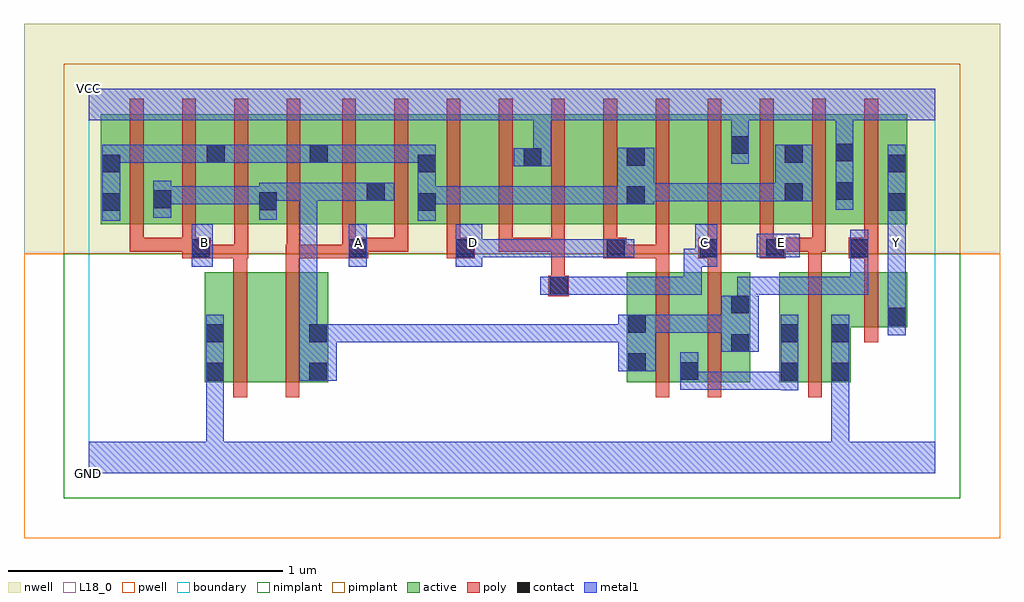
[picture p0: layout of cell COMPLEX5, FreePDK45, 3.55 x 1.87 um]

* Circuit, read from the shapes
.subckt COMPLEX5 A B C D E GND VCC Y
M1 n1 B GND VSUBS nfet w=0.4u l=0.05u
M2 n2 A n1 VSUBS nfet w=0.4u l=0.05u
M3 n3 D n2 VSUBS nfet w=0.4u l=0.05u
M4 n2 C n3 VSUBS nfet w=0.4u l=0.05u
M5 GND E n3 VSUBS nfet w=0.4u l=0.05u
M6 Y n2 GND VSUBS nfet w=0.2u l=0.05u
M7 n2 B n4 n5 pfet w=0.4u l=0.05u m=3
M8 n4 A n2 n5 pfet w=0.4u l=0.05u m=3
M9 n6 D n4 n5 pfet w=0.4u l=0.05u
M10 VCC C n6 n5 pfet w=0.4u l=0.05u
M11 n7 C VCC n5 pfet w=0.4u l=0.05u
M12 n4 D n7 n5 pfet w=0.4u l=0.05u
M13 n8 D n4 n5 pfet w=0.4u l=0.05u
M14 VCC C n8 n5 pfet w=0.4u l=0.05u
M15 n4 E VCC n5 pfet w=0.4u l=0.05u m=2
M16 Y n2 VCC n5 pfet w=0.4u l=0.05u
.ends

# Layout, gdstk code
import gdstk
lib = gdstk.Library(unit=1e-6, precision=1e-09)
def R(c, l, rs):  # rectangles x0, y0, x1, y1
    for r in rs: c.add(gdstk.rectangle(r[:2], r[2:], *l))
def A(c, l, x, y, w, h, nx, ny, dx, dy):  # array of equal rectangles
    R(c, l, [(x+i*dx, y+j*dy, x+i*dx+w, y+j*dy+h) for i in range(nx) for j in range(ny)])
active = (1, 0)
pwell = (2, 0)
nwell = (3, 0)
nimplant = (4, 0)
pimplant = (5, 0)
poly = (9, 0)
contact = (10, 0)
metal1 = (11, 0)
L18_0 = (18, 0)
boundary = (235, 0)

complex5 = lib.new_cell('COMPLEX5')
R(complex5, active, [(0.422,0.332,0.497,0.732), (0.422,0.332,0.647,0.732), (0.647,0.332,0.872,0.732), (0.797,0.332,0.872,0.732), (1.957,0.332,2.032,0.732), (1.957,0.332,2.222,0.732), (2.147,0.332,2.407,0.732), (2.332,0.332,2.407,0.732), (2.512,0.332,2.772,0.732), (2.512,0.332,2.587,0.732), (2.697,0.332,2.772,0.692), (2.147,0.335,2.222,0.492), (2.697,0.532,2.977,0.732), (2.902,0.532,2.977,0.732), (0.045,0.907,0.305,1.307), (0.045,0.907,0.12,1.2), (0.23,0.907,0.5,1.307), (0.23,0.907,0.305,1.07), (0.425,0.907,0.69,1.307), (0.425,0.907,0.5,1.2), (0.615,0.907,0.875,1.307), (0.615,0.907,0.69,1.07), (0.8,0.907,0.875,1.2), (0.8,0.907,1.082,1.307), (1.007,0.907,1.267,1.307), (1.007,0.907,1.082,1.07), (1.192,0.907,1.267,1.2), (1.192,0.907,1.422,1.307), (1.422,0.907,1.652,1.307), (1.577,0.907,1.802,1.307), (1.577,0.907,1.652,1.255), (1.802,0.907,2.027,1.307), (1.952,0.907,2.027,1.2), (1.952,0.907,2.182,1.307), (2.182,0.907,2.407,1.307), (2.332,0.907,2.407,1.255), (2.332,0.907,2.602,1.307), (2.527,0.907,2.787,1.307), (2.527,0.907,2.602,1.2), (2.712,0.907,2.977,1.307), (2.712,0.907,2.787,1.255), (2.902,0.907,2.977,1.2)])
R(complex5, pwell, [(-0.235,-0.235,3.315,0.8)])
R(complex5, nwell, [(-0.235,0.8,3.315,1.635)])
R(complex5, nimplant, [(-0.09,-0.09,3.17,0.8)])
R(complex5, pimplant, [(-0.09,0.8,3.17,1.49)])
A(complex5, poly, 0.922, 0.807, 0.05, 0.095, 6, 1, 0.19, 0)
A(complex5, poly, 2.252, 0.807, 0.05, 0.095, 4, 1, 0.19, 0)
A(complex5, poly, 0.15, 0.852, 0.05, 0.51, 4, 1, 0.19, 0)
A(complex5, poly, 0.922, 0.852, 0.05, 0.51, 11, 1, 0.19, 0)
R(complex5, poly, [(0.527,0.277,0.577,0.787), (0.717,0.277,0.767,0.787), (2.062,0.277,2.112,0.787), (2.252,0.277,2.302,0.787), (2.617,0.277,2.667,0.787), (2.822,0.477,2.872,0.787), (1.672,0.645,1.747,0.72), (1.682,0.67,1.732,0.857), (0.527,0.737,0.577,0.832), (0.717,0.737,0.767,0.832), (2.062,0.737,2.112,0.832), (2.252,0.737,2.302,0.832), (2.617,0.737,2.667,0.857), (2.822,0.737,2.872,0.832), (0.34,0.782,0.445,0.857), (0.395,0.782,0.445,0.832), (0.395,0.782,0.445,0.832), (0.395,0.782,0.577,0.832), (0.527,0.782,0.577,0.832), (0.527,0.782,0.577,0.832), (0.527,0.782,0.58,0.832), (0.53,0.782,0.58,0.902), (0.717,0.782,0.767,0.832), (0.717,0.782,0.767,0.832), (0.717,0.782,0.77,0.832), (0.72,0.782,0.77,0.832), (0.72,0.782,0.77,0.832), (0.72,0.782,0.77,0.902), (0.72,0.782,0.972,0.832), (0.922,0.782,1.017,0.857), (1.302,0.782,1.405,0.857), (1.872,0.782,1.955,0.857), (1.905,0.782,2.112,0.832), (2.062,0.782,2.112,0.832), (2.062,0.782,2.112,0.832), (2.062,0.782,2.112,0.832), (2.062,0.782,2.112,0.832), (2.062,0.782,2.112,0.832), (2.062,0.782,2.112,0.902), (2.217,0.782,2.302,0.857), (2.442,0.782,2.535,0.857), (2.765,0.782,2.872,0.857), (0.15,0.807,0.2,0.902), (0.15,0.807,0.2,0.857), (0.15,0.807,0.2,0.857), (0.15,0.807,0.2,0.857), (0.15,0.807,0.39,0.857), (0.34,0.807,0.39,0.902), (0.967,0.807,1.162,0.857), (1.112,0.807,1.162,0.857), (1.112,0.807,1.162,0.857), (1.112,0.807,1.162,0.857), (1.492,0.807,1.542,0.857), (1.492,0.807,1.542,0.857), (1.492,0.807,1.542,0.857), (1.492,0.807,1.732,0.857), (1.682,0.807,1.732,0.857), (2.252,0.807,2.302,0.857), (2.252,0.807,2.302,0.857), (2.485,0.807,2.667,0.857), (2.617,0.807,2.667,0.857), (2.617,0.807,2.667,0.857), (2.617,0.807,2.667,0.857), (2.617,0.807,2.667,0.857), (2.617,0.807,2.682,0.857), (2.822,0.807,2.872,0.857), (2.822,0.807,2.872,0.857)])
R(complex5, contact, [(0.427,0.337,0.492,0.402), (0.802,0.337,0.867,0.402), (2.517,0.337,2.582,0.402), (2.702,0.337,2.767,0.402), (2.152,0.34,2.217,0.405), (1.962,0.372,2.027,0.437), (2.337,0.442,2.402,0.507), (0.427,0.477,0.492,0.542), (0.802,0.477,0.867,0.542), (2.517,0.477,2.582,0.542), (2.702,0.477,2.767,0.542), (1.962,0.512,2.027,0.577), (2.907,0.537,2.972,0.602), (2.337,0.582,2.402,0.647), (1.677,0.65,1.742,0.715), (0.375,0.787,0.44,0.852), (0.947,0.787,1.012,0.852), (1.335,0.787,1.4,0.852), (1.885,0.787,1.95,0.852), (2.222,0.787,2.287,0.852), (2.465,0.787,2.53,0.852), (2.77,0.787,2.835,0.852), (0.05,0.955,0.115,1.02), (1.197,0.955,1.262,1.02), (2.907,0.955,2.972,1.02), (0.62,0.957,0.685,1.022), (0.235,0.965,0.3,1.03), (1.957,0.98,2.022,1.045), (2.532,0.99,2.597,1.055), (1.012,0.992,1.077,1.057), (2.717,0.995,2.782,1.06), (0.05,1.095,0.115,1.16), (1.197,1.095,1.262,1.16), (2.907,1.095,2.972,1.16), (1.582,1.117,1.647,1.182), (1.957,1.12,2.022,1.185), (0.43,1.13,0.495,1.195), (0.805,1.13,0.87,1.195), (2.532,1.13,2.597,1.195), (2.717,1.135,2.782,1.2), (2.337,1.162,2.402,1.227)])
R(complex5, metal1, [(0,0,3.08,0.115), (0.427,0.05,0.492,0.367), (2.702,0.05,2.767,0.115), (2.702,0.05,2.767,0.115), (2.702,0.05,2.767,0.367), (0.427,0.302,0.492,0.367), (0.427,0.302,0.492,0.367), (0.427,0.302,0.492,0.577), (2.517,0.302,2.582,0.577), (2.702,0.302,2.767,0.577), (2.152,0.305,2.217,0.37), (2.152,0.305,2.217,0.37), (2.152,0.305,2.217,0.44), (2.152,0.305,2.425,0.37), (2.36,0.305,2.425,0.37), (2.36,0.305,2.425,0.37), (2.36,0.305,2.425,0.37), (2.36,0.305,2.582,0.37), (0.767,0.337,0.902,0.542), (1.927,0.372,2.062,0.577), (2.302,0.442,2.437,0.647), (0.767,0.477,0.832,0.542), (0.767,0.477,0.832,0.542), (0.767,0.477,0.832,1.057), (0.837,0.477,0.902,0.542), (0.837,0.477,0.902,0.542), (0.837,0.477,1.112,0.542), (1.047,0.477,1.112,0.542), (1.047,0.477,1.112,0.542), (1.047,0.477,1.112,0.542), (1.047,0.477,1.25,0.542), (1.185,0.477,1.25,0.542), (1.185,0.477,1.25,0.542), (1.185,0.477,1.25,0.542), (1.185,0.477,1.432,0.542), (1.367,0.477,1.432,0.542), (1.367,0.477,1.57,0.542), (1.505,0.477,1.57,0.542), (1.505,0.477,1.57,0.542), (1.505,0.477,1.57,0.542), (1.505,0.477,1.777,0.542), (1.712,0.477,1.777,0.542), (1.712,0.477,1.777,0.542), (1.712,0.477,1.777,0.542), (1.712,0.477,1.92,0.542), (1.855,0.477,1.92,0.542), (1.855,0.477,1.992,0.542), (2.907,0.502,2.972,0.637), (1.997,0.512,2.062,0.577), (1.997,0.512,2.062,0.577), (1.997,0.512,2.23,0.577), (2.165,0.512,2.23,0.577), (2.165,0.512,2.23,0.577), (2.165,0.512,2.23,0.577), (2.165,0.512,2.367,0.577), (2.907,0.572,2.972,0.837), (2.36,0.582,2.425,0.715), (1.642,0.65,1.777,0.715), (1.712,0.65,1.777,0.715), (1.712,0.65,1.777,0.715), (1.712,0.65,1.915,0.715), (1.85,0.65,1.915,0.715), (1.85,0.65,2.08,0.715), (2.015,0.65,2.08,0.715), (2.015,0.65,2.08,0.715), (2.015,0.65,2.08,0.715), (2.015,0.65,2.23,0.715), (2.165,0.65,2.23,0.817), (2.36,0.65,2.425,0.715), (2.36,0.65,2.425,0.715), (2.36,0.65,2.425,0.715), (2.36,0.65,2.63,0.715), (2.565,0.65,2.63,0.715), (2.565,0.65,2.63,0.715), (2.565,0.65,2.63,0.715), (2.565,0.65,2.835,0.715), (2.77,0.65,2.835,0.817), (0.375,0.752,0.452,0.907), (0.947,0.752,1.012,0.907), (1.335,0.752,1.432,0.907), (2.165,0.752,2.272,0.817), (2.207,0.752,2.287,0.907), (2.77,0.752,2.835,0.817), (2.77,0.752,2.835,0.887), (2.907,0.772,2.972,0.907), (1.367,0.787,1.432,0.852), (1.367,0.787,1.432,0.852), (1.367,0.787,1.57,0.852), (1.505,0.787,1.57,0.852), (1.505,0.787,1.57,0.852), (1.505,0.787,1.57,0.852), (1.505,0.787,1.777,0.852), (1.712,0.787,1.777,0.852), (1.712,0.787,1.777,0.852), (1.712,0.787,1.777,0.852), (1.712,0.787,1.915,0.852), (1.85,0.787,1.985,0.852), (2.43,0.787,2.587,0.872), (2.907,0.842,2.972,0.985), (0.05,0.92,0.115,1.195), (1.197,0.92,1.262,0.985), (1.197,0.92,1.262,1.195), (1.197,0.92,1.262,1.045), (2.907,0.92,2.972,0.985), (2.907,0.92,2.972,0.985), (2.907,0.92,2.972,1.195), (0.62,0.922,0.685,1.057), (0.235,0.93,0.3,1.065), (2.717,0.96,2.782,1.235), (0.235,0.98,0.3,1.045), (0.235,0.98,0.3,1.045), (0.235,0.98,0.547,1.045), (0.482,0.98,0.547,1.045), (0.482,0.98,0.547,1.045), (0.482,0.98,0.547,1.045), (0.482,0.98,0.685,1.045), (1.197,0.98,1.432,1.045), (1.367,0.98,1.432,1.045), (1.367,0.98,1.432,1.045), (1.367,0.98,1.432,1.045), (1.367,0.98,1.57,1.045), (1.505,0.98,1.57,1.045), (1.505,0.98,1.57,1.045), (1.505,0.98,1.57,1.045), (1.505,0.98,1.777,1.045), (1.712,0.98,1.777,1.045), (1.712,0.98,1.777,1.045), (1.712,0.98,1.777,1.045), (1.712,0.98,1.92,1.045), (1.855,0.98,1.92,1.045), (1.855,0.98,1.987,1.045), (1.922,0.98,2.057,1.185), (1.992,0.99,2.057,1.055), (1.992,0.99,2.057,1.055), (1.992,0.99,2.23,1.055), (2.165,0.99,2.23,1.055), (2.165,0.99,2.23,1.055), (2.165,0.99,2.23,1.055), (2.165,0.99,2.425,1.055), (2.36,0.99,2.425,1.055), (2.36,0.99,2.425,1.055), (2.36,0.99,2.425,1.055), (2.36,0.99,2.562,1.055), (2.497,0.99,2.632,1.195), (0.62,0.992,0.685,1.057), (0.62,0.992,0.685,1.057), (0.62,0.992,0.832,1.057), (0.767,0.992,0.832,1.057), (0.767,0.992,0.832,1.057), (0.767,0.992,0.832,1.057), (0.767,0.992,0.832,1.057), (0.767,0.992,0.832,1.057), (0.767,0.992,1.042,1.057), (0.977,0.992,1.112,1.057), (1.547,1.117,1.682,1.182), (1.617,1.117,1.682,1.35), (2.337,1.127,2.402,1.262), (0.05,1.13,0.115,1.195), (0.05,1.13,0.115,1.195), (0.05,1.13,0.322,1.195), (0.257,1.13,0.322,1.195), (0.257,1.13,0.41,1.195), (0.345,1.13,0.41,1.195), (0.345,1.13,0.46,1.195), (0.395,1.13,0.53,1.195), (0.465,1.13,0.547,1.195), (0.482,1.13,0.547,1.195), (0.482,1.13,0.695,1.195), (0.63,1.13,0.695,1.195), (0.63,1.13,0.695,1.195), (0.63,1.13,0.695,1.195), (0.63,1.13,0.835,1.195), (0.77,1.13,0.905,1.195), (0.84,1.13,0.905,1.195), (0.84,1.13,0.905,1.195), (0.84,1.13,1.112,1.195), (1.047,1.13,1.112,1.195), (1.047,1.13,1.112,1.195), (1.047,1.13,1.112,1.195), (1.047,1.13,1.262,1.195), (2.717,1.17,2.782,1.35), (2.337,1.197,2.402,1.35), (0,1.285,3.08,1.4)])
R(complex5, L18_0, [(0,0,3.08,0.115), (0.427,0.05,0.492,0.367), (2.702,0.05,2.767,0.115), (2.702,0.05,2.767,0.115), (2.702,0.05,2.767,0.367), (0.427,0.302,0.492,0.367), (0.427,0.302,0.492,0.367), (0.427,0.302,0.492,0.577), (2.702,0.302,2.767,0.577), (2.907,0.502,2.972,0.637), (2.907,0.572,2.972,0.837), (1.642,0.65,1.777,0.715), (1.712,0.65,1.777,0.715), (1.712,0.65,1.777,0.715), (1.712,0.65,1.915,0.715), (1.85,0.65,1.915,0.715), (1.85,0.65,2.08,0.715), (2.015,0.65,2.08,0.715), (2.015,0.65,2.08,0.715), (2.015,0.65,2.08,0.715), (2.015,0.65,2.23,0.715), (2.165,0.65,2.23,0.817), (0.375,0.752,0.452,0.907), (0.947,0.752,1.012,0.907), (1.335,0.752,1.432,0.907), (2.165,0.752,2.272,0.817), (2.207,0.752,2.287,0.907), (2.907,0.772,2.972,0.907), (1.367,0.787,1.432,0.852), (1.367,0.787,1.432,0.852), (1.367,0.787,1.57,0.852), (1.505,0.787,1.57,0.852), (1.505,0.787,1.57,0.852), (1.505,0.787,1.57,0.852), (1.505,0.787,1.777,0.852), (1.712,0.787,1.777,0.852), (1.712,0.787,1.777,0.852), (1.712,0.787,1.777,0.852), (1.712,0.787,1.915,0.852), (1.85,0.787,1.985,0.852), (2.43,0.787,2.587,0.872), (0.387,0.807,0.452,0.872), (0.947,0.807,1.012,0.872), (1.367,0.807,1.432,0.872), (2.207,0.807,2.272,0.872), (2.487,0.807,2.552,0.872), (2.907,0.807,2.972,0.872), (2.907,0.842,2.972,0.985), (2.907,0.92,2.972,0.985), (2.907,0.92,2.972,0.985), (2.907,0.92,2.972,1.195), (2.717,0.96,2.782,1.235), (1.547,1.117,1.682,1.182), (1.617,1.117,1.682,1.35), (2.337,1.127,2.402,1.262), (2.717,1.17,2.782,1.35), (2.337,1.197,2.402,1.35), (0,1.285,3.08,1.4)])
R(complex5, boundary, [(0,0,3.08,1.4)])
complex5.add(gdstk.Label('A', (0.98,0.84), layer=11, texttype=0))
complex5.add(gdstk.Label('B', (0.42,0.84), layer=11, texttype=0))
complex5.add(gdstk.Label('C', (2.24,0.84), layer=11, texttype=0))
complex5.add(gdstk.Label('D', (1.4,0.84), layer=11, texttype=0))
complex5.add(gdstk.Label('E', (2.52,0.84), layer=11, texttype=0))
complex5.add(gdstk.Label('Y', (2.94,0.84), layer=11, texttype=0))
complex5.add(gdstk.Label('VCC', (0,1.4), layer=11, texttype=0))
complex5.add(gdstk.Label('GND', (0,0), layer=11, texttype=0))

lib.write_gds('COMPLEX5.gds')
